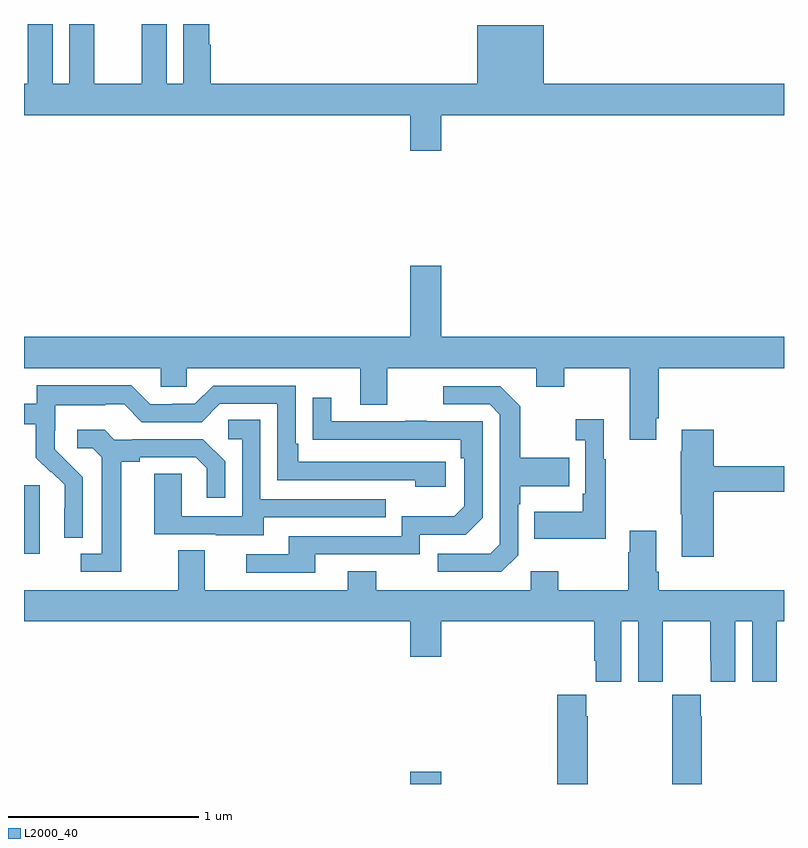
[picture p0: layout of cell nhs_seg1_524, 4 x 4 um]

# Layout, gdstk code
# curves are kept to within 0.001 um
import gdstk
lib = gdstk.Library(unit=1e-6, precision=1e-09)
def R(c, l, rs):  # rectangles x0, y0, x1, y1
    for r in rs: c.add(gdstk.rectangle(r[:2], r[2:], *l))
def P(c, l, *ps):  # polygons
    for p in ps: c.add(gdstk.Polygon(p, *l))
L2000_40 = (2000, 40)

nhs_seg1_524 = lib.new_cell('nhs_seg1_524')
R(nhs_seg1_524, L2000_40, [(141.032,560.199,141.196,560.263), (139,561.41,139.084,561.771)])
P(nhs_seg1_524, L2000_40, [(139.238,564.199),(139.238,563.884),(139.15,563.884),(139.15,564.199),(139.019,564.199),(139.019,563.884),(139,563.884),(139,563.72),(141.032,563.72),(141.032,563.532),(141.196,563.532),(141.196,563.72),(143,563.72),(143,563.884),(141.736,563.884),(141.736,564.193),(141.386,564.193),(141.386,563.884),(139.982,563.884),(139.982,564.089),(139.975,564.089),(139.975,564.199),(139.838,564.199),(139.838,563.884),(139.75,563.884),(139.75,564.199),(139.619,564.199),(139.619,563.884),(139.369,563.884),(139.369,564.199)],
  [(142.327,562.123),(142.34,562.123),(142.34,562.388),(143,562.388),(143,562.552),(141.196,562.552),(141.196,562.927),(141.032,562.927),(141.032,562.552),(139,562.552),(139,562.388),(139.719,562.388),(139.719,562.29),(139.857,562.29),(139.857,562.388),(140.771,562.388),(140.771,562.194),(140.911,562.194),(140.911,562.388),(141.695,562.388),(141.695,562.289),(141.843,562.289),(141.843,562.388),(142.187,562.388),(142.187,562.011),(142.327,562.011)],
  [(139.308,561.814),(139.162,561.962),(139.162,562.059),(139.164,562.059),(139.164,562.193),(139.427,562.193),(139.427,562.197),(139.527,562.197),(139.62,562.104),(139.935,562.104),(140.031,562.2),(140.334,562.2),(140.334,561.798),(141.059,561.798),(141.059,561.764),(141.22,561.764),(141.22,561.894),(140.443,561.894),(140.443,561.991),(140.43,561.991),(140.43,562.296),(139.995,562.296),(139.899,562.2),(139.781,562.2),(139.781,562.197),(139.665,562.197),(139.565,562.297),(139.068,562.297),(139.068,562.2),(139,562.2),(139,562.092),(139.063,562.092),(139.063,561.917),(139.14,561.84),(139.143,561.843),(139.214,561.773),(139.214,561.65),(139.212,561.65),(139.212,561.496),(139.308,561.496)],
  [(141.6,561.402),(141.6,561.671),(141.613,561.671),(141.613,561.767),(141.869,561.767),(141.869,561.915),(141.613,561.915),(141.613,562.187),(141.507,562.293),(141.207,562.293),(141.207,562.197),(141.45,562.197),(141.504,562.143),(141.504,561.462),(141.453,561.411),(141.177,561.411),(141.177,561.315),(141.513,561.315)],
  [(140.533,561.408),(141.084,561.408),(141.084,561.51),(141.324,561.51),(141.414,561.6),(141.414,562.107),(141.119,562.107),(141.119,562.112),(141.007,562.112),(141.007,562.107),(140.617,562.107),(140.617,562.231),(140.521,562.231),(140.521,562.012),(141.298,562.011),(141.298,561.914),(141.318,561.914),(141.318,561.66),(141.265,561.607),(140.988,561.607),(140.988,561.504),(140.393,561.504),(140.393,561.408),(140.169,561.408),(140.169,561.312),(140.533,561.312)],
  [(142.063,561.907),(142.051,561.907),(142.051,562.12),(141.903,562.12),(141.903,562.007),(141.954,562.007),(141.954,561.727),(141.942,561.727),(141.942,561.631),(141.685,561.631),(141.685,561.491),(142.063,561.491)],
  [(140.263,561.603),(140.903,561.603),(140.903,561.699),(140.244,561.699),(140.244,562.115),(140.076,562.115),(140.076,562.014),(140.148,562.014),(140.148,561.609),(139.83,561.609),(139.83,561.833),(139.685,561.833),(139.685,561.513),(140.009,561.513),(140.009,561.509),(140.263,561.509)],
  [(139.513,561.896),(139.609,561.896),(139.609,561.918),(139.904,561.918),(139.961,561.861),(139.961,561.705),(140.058,561.705),(140.058,561.898),(139.942,562.014),(139.57,562.014),(139.57,562.011),(139.476,562.011),(139.424,562.063),(139.281,562.063),(139.281,561.966),(139.362,561.966),(139.409,561.919),(139.409,561.411),(139.299,561.411),(139.299,561.315),(139.513,561.315)],
  [(142.631,561.736),(143,561.736),(143,561.872),(142.631,561.872),(142.631,562.063),(142.463,562.063),(142.463,561.95),(142.456,561.95),(142.456,561.619),(142.463,561.619),(142.463,561.396),(142.631,561.396)],
  [(142.34,561.316),(142.327,561.316),(142.327,561.532),(142.187,561.532),(142.187,561.419),(142.18,561.419),(142.18,561.22),(141.813,561.22),(141.813,561.319),(141.666,561.319),(141.666,561.22),(140.853,561.22),(140.853,561.319),(140.705,561.319),(140.705,561.22),(139.951,561.22),(139.951,561.428),(139.811,561.428),(139.811,561.22),(139,561.22),(139,561.056),(141.032,561.056),(141.032,560.868),(141.196,560.868),(141.196,561.056),(142.001,561.056),(142.001,560.848),(142.01,560.848),(142.01,560.736),(142.144,560.736),(142.144,561.056),(142.232,561.056),(142.232,560.736),(142.362,560.736),(142.362,560.848),(142.363,560.848),(142.363,561.056),(142.613,561.056),(142.613,560.848),(142.614,560.848),(142.614,560.736),(142.744,560.736),(142.744,561.056),(142.832,561.056),(142.832,560.736),(142.962,560.736),(142.962,560.848),(142.963,560.848),(142.963,561.056),(143,561.056),(143,561.22),(142.34,561.22)],
  [(141.966,560.555),(141.959,560.555),(141.959,560.668),(141.806,560.668),(141.806,560.199),(141.966,560.199)],
  [(142.566,560.555),(142.563,560.555),(142.563,560.668),(142.413,560.668),(142.413,560.555),(142.411,560.555),(142.411,560.199),(142.566,560.199)])

lib.write_gds('nhs_seg1_524.gds')
